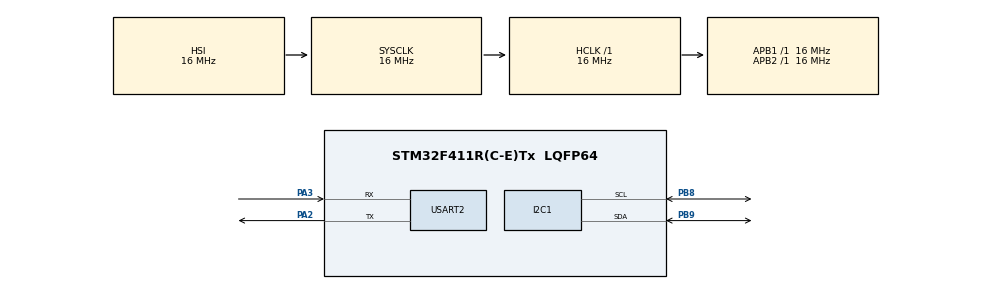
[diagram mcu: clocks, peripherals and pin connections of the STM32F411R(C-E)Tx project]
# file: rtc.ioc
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Mcu.Family=STM32F4
Mcu.Name=STM32F411R(C-E)Tx
Mcu.Package=LQFP64
NVIC.PriorityGroup=NVIC_PRIORITYGROUP_4
NVIC.USART2_IRQn=true\:0\:0\:false\:false\:true\:true\:true\:true
PA2.Mode=Asynchronous
PA2.Signal=USART2_TX
PA3.Mode=Asynchronous
PA3.Signal=USART2_RX
PB8.GPIO_Pu=GPIO_PULLUP
PB8.Mode=I2C
PB8.Signal=I2C1_SCL
PB9.GPIO_Pu=GPIO_PULLUP
PB9.Mode=I2C
PB9.Signal=I2C1_SDA
ProjectManager.HeapSize=0x200
ProjectManager.StackSize=0x400
ProjectManager.TargetToolchain=STM32CubeIDE
RCC.AHBFreq_Value=16000000
RCC.APB1Freq_Value=16000000
RCC.APB2Freq_Value=16000000
RCC.CortexFreq_Value=16000000
RCC.HSE_VALUE=25000000
RCC.HSI_VALUE=16000000
RCC.LSE_VALUE=32768
RCC.SYSCLKFreq_VALUE=16000000
RCC.VCOOutputFreq_Value=192000000
USART2.VirtualMode=VM_ASYNC
board=custom

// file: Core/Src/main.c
/* USER CODE BEGIN Header */
/**
  ******************************************************************************
  * @file           : main.c
  * @brief          : Main program body
  ******************************************************************************
  * @attention
  *
  * Copyright (c) 2024 STMicroelectronics.
  * All rights reserved.
  *
  * This software is licensed under terms that can be found in the LICENSE file
  * in the root directory of this software component.
  * If no LICENSE file comes with this software, it is provided AS-IS.
  *
  ******************************************************************************
  */
/* USER CODE END Header */
#include "main.h"

/* USER CODE BEGIN Includes */
#include "uart.h"
#include <stdio.h>
/* USER CODE END Includes */

/* USER CODE BEGIN PD */
#define 	RTC_ADD 	0xD0
#define 	ROM_ADD 	0xA0
#define		READ 		1
#define		MagicNumber	0x12abcd78
// 매직?��버�?? ?��?��?���? ?��?��?��?�� EEPROM?�� ???��?���? ?��?�� ?���? ?��?��?�� 매직?��버�?? 비교?��?�� version management

//eeprom map table
#define		eeMagicNumberBase	0
#define		eeMagicNumberSize	4
/* USER CODE END PD */

I2C_HandleTypeDef hi2c1;

UART_HandleTypeDef huart2;

void SystemClock_Config(void);
static void MX_GPIO_Init(void);
static void MX_I2C1_Init(void);
static void MX_USART2_UART_Init(void);

/* USER CODE BEGIN 0 */
typedef struct
{
   uint8_t year;
   uint8_t month;
   uint8_t date;
   uint8_t day;
   uint8_t hour;
   uint8_t min;
   uint8_t sec;
} DateTime_t;

uint8_t BCD2Decimal(uint8_t inData){
	uint8_t upper = inData >> 4;;
	uint8_t lower = inData & 0x0f;
	return upper*10 + lower;
}
uint8_t Decimal2BCD(uint8_t inData){
	uint8_t upper = inData / 10;
	uint8_t lower = inData % 10;
	return (upper << 4) | lower;
}

void setRTC(DateTime_t inData){
	uint8_t txBuffer[8];
	txBuffer[7] = Decimal2BCD(inData.year);
	txBuffer[6] = Decimal2BCD(inData.month);
	txBuffer[5] = Decimal2BCD(inData.date);
	// days = auto
	txBuffer[3] = Decimal2BCD(inData.hour);
	txBuffer[2] = Decimal2BCD(inData.min);
	txBuffer[1] = Decimal2BCD(inData.sec);
	txBuffer[0] = 0;
	HAL_I2C_Master_Transmit(&hi2c1, RTC_ADD, txBuffer, sizeof(txBuffer), 10);
}

DateTime_t getRTC(){
	DateTime_t result;
	uint8_t rxBuffer[7];
	uint8_t address = 0;
	HAL_I2C_Master_Transmit(&hi2c1, RTC_ADD, &address, 1, 10);
	HAL_I2C_Master_Receive(&hi2c1, RTC_ADD | READ, rxBuffer, 7, 10);
	result.year = BCD2Decimal(rxBuffer[6]);
	result.month = BCD2Decimal(rxBuffer[5]);
	result.date = BCD2Decimal(rxBuffer[4]);
	result.day = BCD2Decimal(rxBuffer[3]);
	result.hour = BCD2Decimal(rxBuffer[2]);
	result.min = BCD2Decimal(rxBuffer[1]);
	result.sec = BCD2Decimal(rxBuffer[0]);
	return result;
}

void writeRAM(uint8_t address, uint8_t data){
	HAL_I2C_Mem_Write(&hi2c1, RTC_ADD, address, 1, &data, 1, 10);
}

uint8_t readRAM(uint8_t address){
	uint8_t result;
	HAL_I2C_Mem_Read(&hi2c1, RTC_ADD, address, 1, &result, 1, 10);
	return result;
}

void writeEEPROM(uint16_t address, uint8_t data){
	HAL_I2C_Mem_Write(&hi2c1, ROM_ADD, address, 2, &data, 1, 10);
	HAL_Delay(5); // EEPROM Write cycle time = 5ms
}

uint8_t readEEPROM(uint16_t address){
	uint8_t result;
	HAL_I2C_Mem_Read(&hi2c1, ROM_ADD, address, 2, &result, 1, 10);
	return result;
}

void write2ByteEEPROM(uint16_t address, uint16_t data){
	HAL_I2C_Mem_Write(&hi2c1, ROM_ADD, address, 2, &data, 2, 10);
	HAL_Delay(10);
}

uint16_t read2ByteEEPROM(uint16_t address){
	uint16_t result;
	HAL_I2C_Mem_Read(&hi2c1, ROM_ADD, address, 2, &result, 2, 10);
	return result;
}

void write4ByteEEPROM(uint16_t address, uint32_t data){
	HAL_I2C_Mem_Write(&hi2c1, ROM_ADD, address, 2, &data, 4, 10);
	HAL_Delay(20);
}

uint32_t read4ByteEEPROM(uint16_t address){
	uint32_t result;
	HAL_I2C_Mem_Read(&hi2c1, ROM_ADD, address, 2, &result, 4, 10);
	return result;
}

/* USER CODE END 0 */

int main(void)
{

  /* MCU Configuration--------------------------------------------------------*/

  /* Reset of all peripherals, Initializes the Flash interface and the Systick. */
  HAL_Init();

  /* Configure the system clock */
  SystemClock_Config();

  /* Initialize all configured peripherals */
  MX_GPIO_Init();
  MX_I2C1_Init();
  MX_USART2_UART_Init();
  /* USER CODE BEGIN 2 */
  initUART(&huart2);
  DateTime_t dateTime;
  if(MagicNumber != read4ByteEEPROM(eeMagicNumberBase)){
	  // init setting
	  dateTime.year =  24;
	  dateTime.month = 3;
	  dateTime.date = 29;
	  dateTime.hour = 14;
	  dateTime.min = 28;
	  dateTime.sec = 0;
	  setRTC(dateTime);
	  write4ByteEEPROM(eeMagicNumberBase, MagicNumber); // recording magicnumber
  }
  /* USER CODE END 2 */

  /* Infinite loop */
  /* USER CODE BEGIN WHILE */
  /*uint8_t address = 0;
  uint8_t buffer[0x40] = {0,}; // Timekeeper Registers address : 0x00 ~ 0x39
  HAL_I2C_Master_Transmit(&hi2c1, 0xd0, &address, 1, 10);
  HAL_I2C_Master_Receive(&hi2c1, 0xd1, buffer, 1, 10);
  buffer[1] = buffer[0] & 0x7f; // MSE bit=0, rtc 00H BIT7(CH) = 0
  buffer[0] = 0;				// saving start address
  */

  while (1)
  {
	  /*
	  buffer[0] = 0;
	  HAL_I2C_Master_Transmit(&hi2c1, 0xd0, buffer, 1, 10); // rtc slave address : 0xd0 // 1byte transmit
	  // buffer = 0 -> rtc sec address
	  HAL_I2C_Master_Receive(&hi2c1, 0xd1, buffer, 0x40, 100);
	  printf("20%02d-%02d-%02d %02d:%02d:%02d\n",
			  BCD2Decimal(buffer[6]), BCD2Decimal(buffer[5]), BCD2Decimal(buffer[4]), //20YY-MM-DD
			  BCD2Decimal(buffer[2]), BCD2Decimal(buffer[1]), BCD2Decimal(buffer[0])); //HH:MM:SS
	  for(int i=8; i<0x40; i++){
		  printf("%02x ", buffer[i]);
	  }
	  printf("\n");
	  HAL_Delay(1000);
	  */
	  dateTime = getRTC();
	  printf("20%02d-%02d-%02d %02d:%02d:%02d\n",
			  dateTime.year,
			  dateTime.month,
			  dateTime.date,
			  dateTime.hour,
			  dateTime.min,
			  dateTime.sec);
	 HAL_Delay(1000);
    /* USER CODE END WHILE */

  }
}

void SystemClock_Config(void)
{
  RCC_OscInitTypeDef RCC_OscInitStruct = {0};
  RCC_ClkInitTypeDef RCC_ClkInitStruct = {0};

  /** Configure the main internal regulator output voltage
  */
  __HAL_RCC_PWR_CLK_ENABLE();
  __HAL_PWR_VOLTAGESCALING_CONFIG(PWR_REGULATOR_VOLTAGE_SCALE1);

  /** Initializes the RCC Oscillators according to the specified parameters
  * in the RCC_OscInitTypeDef structure.
  */
  RCC_OscInitStruct.OscillatorType = RCC_OSCILLATORTYPE_HSI;
  RCC_OscInitStruct.HSIState = RCC_HSI_ON;
  RCC_OscInitStruct.HSICalibrationValue = RCC_HSICALIBRATION_DEFAULT;
  RCC_OscInitStruct.PLL.PLLState = RCC_PLL_NONE;
  if (HAL_RCC_OscConfig(&RCC_OscInitStruct) != HAL_OK)
  {
    Error_Handler();
  }

  /** Initializes the CPU, AHB and APB buses clocks
  */
  RCC_ClkInitStruct.ClockType = RCC_CLOCKTYPE_HCLK|RCC_CLOCKTYPE_SYSCLK
                              |RCC_CLOCKTYPE_PCLK1|RCC_CLOCKTYPE_PCLK2;
  RCC_ClkInitStruct.SYSCLKSource = RCC_SYSCLKSOURCE_HSI;
  RCC_ClkInitStruct.AHBCLKDivider = RCC_SYSCLK_DIV1;
  RCC_ClkInitStruct.APB1CLKDivider = RCC_HCLK_DIV1;
  RCC_ClkInitStruct.APB2CLKDivider = RCC_HCLK_DIV1;

  if (HAL_RCC_ClockConfig(&RCC_ClkInitStruct, FLASH_LATENCY_0) != HAL_OK)
  {
    Error_Handler();
  }
}

static void MX_I2C1_Init(void)
{

  hi2c1.Instance = I2C1;
  hi2c1.Init.ClockSpeed = 100000;
  hi2c1.Init.DutyCycle = I2C_DUTYCYCLE_2;
  hi2c1.Init.OwnAddress1 = 0;
  hi2c1.Init.AddressingMode = I2C_ADDRESSINGMODE_7BIT;
  hi2c1.Init.DualAddressMode = I2C_DUALADDRESS_DISABLE;
  hi2c1.Init.OwnAddress2 = 0;
  hi2c1.Init.GeneralCallMode = I2C_GENERALCALL_DISABLE;
  hi2c1.Init.NoStretchMode = I2C_NOSTRETCH_DISABLE;
  if (HAL_I2C_Init(&hi2c1) != HAL_OK)
  {
    Error_Handler();
  }

}

static void MX_USART2_UART_Init(void)
{

  huart2.Instance = USART2;
  huart2.Init.BaudRate = 115200;
  huart2.Init.WordLength = UART_WORDLENGTH_8B;
  huart2.Init.StopBits = UART_STOPBITS_1;
  huart2.Init.Parity = UART_PARITY_NONE;
  huart2.Init.Mode = UART_MODE_TX_RX;
  huart2.Init.HwFlowCtl = UART_HWCONTROL_NONE;
  huart2.Init.OverSampling = UART_OVERSAMPLING_16;
  if (HAL_UART_Init(&huart2) != HAL_OK)
  {
    Error_Handler();
  }

}

static void MX_GPIO_Init(void)
{

  /* GPIO Ports Clock Enable */
  __HAL_RCC_GPIOA_CLK_ENABLE();
  __HAL_RCC_GPIOB_CLK_ENABLE();

}

void Error_Handler(void)
{
  __disable_irq();
  while (1)
  {
  }
}
